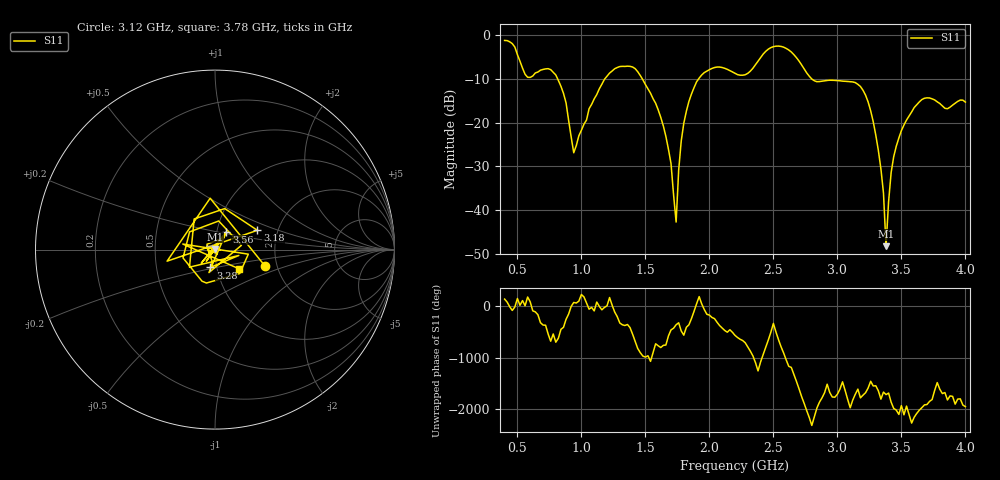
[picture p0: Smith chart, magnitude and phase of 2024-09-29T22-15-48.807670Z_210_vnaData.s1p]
!Created with skrf (http://scikit-rf.org).
# Hz S RI R 50.0
!freq ReS11 ImS11
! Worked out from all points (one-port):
!   181 points, 400 MHz to 4 GHz, reference 50 ohm
!   lowest |S11| = -48.3 dB at 3.38 GHz (marker M1), VSWR 1.01, Z = 50 + j0.385 ohm
!   |S11| at or under -10 dB: 814.7 MHz to 1.182 GHz (367.2 MHz wide, 36.8 % of centre); 1.476 GHz to 1.915 GHz (438.8 MHz wide, 25.9 % of centre); 2.8 GHz to end of sweep
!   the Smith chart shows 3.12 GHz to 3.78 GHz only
!   S11 on the Smith chart (normalised r, x): 3.12 GHz: 1.73, -0.34; 3.18 GHz: 1.57, +0.36; 3.28 GHz: 0.93, -0.19; 3.56 GHz: 1.11, +0.23; 3.78 GHz: 1.28, -0.28
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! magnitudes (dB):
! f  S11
! 400 MHz  -1.2
! 580 MHz  -9.6
! 760 MHz  -7.9
! 860 MHz  -13.3
! 940 MHz  -26.9
! 1.14 GHz  -12.2
! 1.3 GHz  -7.1
! 1.42 GHz  -7.6
! 1.6 GHz  -17.1
! 1.7 GHz  -29.3
! 1.74 GHz  -42.8
! 1.76 GHz  -30.8
! 1.8 GHz  -20.1
! 1.9 GHz  -10.6
! 2.2 GHz  -8.7
! 2.66 GHz  -4.4
! 2.82 GHz  -10.4
! 3.1 GHz  -10.6
! 3.12 GHz  -10.7
! 3.18 GHz  -11.7
! 3.28 GHz  -19.8
! 3.36 GHz  -36.1
! 3.38 GHz  -48.3
! 3.4 GHz  -38.1
! 3.44 GHz  -27.8
! 3.56 GHz  -18.5
! 3.78 GHz  -15.2
! 4 GHz  -15.3
